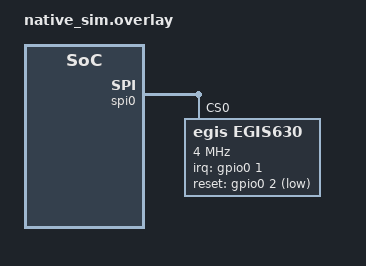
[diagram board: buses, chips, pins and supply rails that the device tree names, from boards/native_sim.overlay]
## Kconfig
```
source "Kconfig.zephyr"
rsource "../../../../../../fingerprint/egis/Kconfig"
```

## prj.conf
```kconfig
# Copyright 2025 The ChromiumOS Authors
# Use of this source code is governed by a BSD-style license that can be
# found in the LICENSE file.

CONFIG_ZTEST=y
CONFIG_EMUL=y
CONFIG_GPIO=y
CONFIG_SPI=y
CONFIG_PM_DEVICE=y
CONFIG_FINGERPRINT_SENSOR=y
CONFIG_FINGERPRINT_SENSOR_EGIS630_PAL=y
CONFIG_APPLICATION_DEFINED_SYSCALL=y
CONFIG_UART_NATIVE_PTY_0_ON_STDINOUT=y

# Breaks some of the tests.
CONFIG_DEVICE_API_ASSERT=n
CONFIG_FP_SENSOR_ALLOW_EXTERNAL_CALI_DATA=y
CONFIG_HAVE_EGIS630_PRIVATE_DRIVER=y
```

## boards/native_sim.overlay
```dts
/* Copyright 2025 The ChromiumOS Authors
 * Use of this source code is governed by a BSD-style license that can be
 * found in the LICENSE file.
 */

#define EGIS630_DEFAULT_IMAGE_PROPS \
	width = <80>; \
	height = <64>; \
	bits-per-pixel = <8>; \
	frame-size = <5120>; \
	image-data-offset-bytes = <0>; \
	v4l2-pixel-format = "V4L2_PIX_FMT_GREY";

#define EGIS630_TEST_IMAGE_PROPS \
	width = <80>; \
	height = <64>; \
	bits-per-pixel = <16>; \
	frame-size = <10240>; \
	image-data-offset-bytes = <0>; \
	v4l2-pixel-format = "V4L2_PIX_FMT_GREY";

/ {
	chosen {
		cros-fp,fingerprint-sensor = &egis630;
	};

	mock_mt_data: partition@10 {
		label = "mock_mt_data";
		reg = <0x10 128>;
	};
};

&spi0 {
	egis630: egis630@0 {
		compatible = "egis,egis630";
		reg = <0>;
		spi-max-frequency = <4000000>;

		configs {
			compatible = "fingerprint-image-frame-params";
			config0 {
				EGIS630_DEFAULT_IMAGE_PROPS
				capture-type = "FINGERPRINT_CAPTURE_TYPE_SIMPLE_IMAGE";
			};
			config1 {
				EGIS630_TEST_IMAGE_PROPS
				capture-type = "FINGERPRINT_CAPTURE_TYPE_PATTERN0";
			};
			config2 {
				EGIS630_TEST_IMAGE_PROPS
				capture-type = "FINGERPRINT_CAPTURE_TYPE_PATTERN1";
			};
			config3 {
				EGIS630_TEST_IMAGE_PROPS
				capture-type = "FINGERPRINT_CAPTURE_TYPE_DEFECT_PXL_TEST";
			};
			config4 {
				EGIS630_TEST_IMAGE_PROPS
				capture-type = "FINGERPRINT_CAPTURE_TYPE_ABNORMAL_TEST";
			};
			config5 {
				EGIS630_TEST_IMAGE_PROPS
				capture-type = "FINGERPRINT_CAPTURE_TYPE_NOISE_TEST";
			};
			config6 {
				EGIS630_TEST_IMAGE_PROPS
				capture-type = "FINGERPRINT_CAPTURE_TYPE_QUALITY_TEST";
			};
		};

		irq-gpios = <&gpio0 1 GPIO_ACTIVE_HIGH>;
		reset-gpios = <&gpio0 2 GPIO_ACTIVE_LOW>;
		calibration-data = <&mock_mt_data>;
	};
};
```

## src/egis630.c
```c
/* Copyright 2025 The ChromiumOS Authors
 * Use of this source code is governed by a BSD-style license that can be
 * found in the LICENSE file.
 */

#include "egis630_pal_test_helpers.h"

#include <zephyr/device.h>
#include <zephyr/devicetree.h>
#include <zephyr/drivers/emul.h>
#include <zephyr/drivers/gpio.h>
#include <zephyr/drivers/gpio/gpio_emul.h>
#include <zephyr/fff.h>
#include <zephyr/sys/byteorder.h>
#include <zephyr/sys/util.h>
#include <zephyr/ztest.h>
#include <zephyr/ztest_assert.h>
#include <zephyr/ztest_error_hook.h>

#include <drivers/fingerprint.h>
#include <emul/emul_egis630.h>
#include <fingerprint/v4l2_types.h>
#include <fingerprint_egis630.h>
#include <fingerprint_egis630_private.h>

DEFINE_FFF_GLOBALS;

extern char printf_buffer[256];
extern LOG_LEVEL g_log_level;
struct egis630_fixture {
	const struct device *dev;
	const struct emul *target;
};

static void *egis630_setup(void)
{
	static struct egis630_fixture fixture = {
		.dev = DEVICE_DT_GET(DT_NODELABEL(egis630)),
		.target = EMUL_DT_GET(DT_NODELABEL(egis630)),
	};

	zassert_not_null(fixture.dev);
	zassert_not_null(fixture.target);
	return &fixture;
}

static void egis630_before(void *data)
{
	memset(printf_buffer, 0, sizeof(printf_buffer));
	g_log_level = LOG_INFO;

	return;
}

/* Maps Egis image capture errors to fingerprint errors. */
int convert_egis_get_image_error_code(egis_api_return_t code);

/* Returns the usable size of a block previously returned by sys_alloc(). */
size_t sys_alloc_usable_size(void *data);

/* Converts capture types from the ec domain to the egis domain. */
egis_capture_mode_t convert_fp_capture_type_to_egis_capture_type(
	enum fingerprint_capture_type capture_type);

/* Converts Egis sensor initialization error to a generic sensor error code. */
uint16_t convert_egis_sensor_init_error_code(egis_api_return_t code);

#define EGIS630_IMAGE_FRAME_PARAM_INITIALIZER(idx, node_id)                 \
	{                                                                   \
		.frame_size = FINGERPRINT_SENSOR_FRAME_SIZE(idx, node_id),  \
		.image_data_offset_bytes =                                  \
			FINGERPRINT_SENSOR_IMAGE_OFFSET(idx, node_id),      \
		.pixel_format =                                             \
			FINGERPRINT_SENSOR_V4L2_PIXEL_FORMAT(idx, node_id), \
		.width = FINGERPRINT_SENSOR_RES_X(idx, node_id),            \
		.height = FINGERPRINT_SENSOR_RES_Y(idx, node_id),           \
		.bpp = FINGERPRINT_SENSOR_RES_BPP(idx, node_id),            \
		.fp_capture_type =                                          \
			FINGERPRINT_SENSOR_CAPTURE_TYPE(idx, node_id),      \
		.reserved = 0,                                              \
	}

static const struct fingerprint_image_frame_params
	expected_image_frame_params_array[] = { LISTIFY(
		NUM_IMAGE_CAPTURE_TYPES, EGIS630_IMAGE_FRAME_PARAM_INITIALIZER,
		(, ), DT_NODELABEL(egis630)) };

ZTEST_SUITE(egis630, NULL, egis630_setup, egis630_before, NULL, NULL);

ZTEST_F(egis630, test_init_success)
{
	zassert_ok(fingerprint_init(fixture->dev));
}

ZTEST_F(egis630, test_deinit_success)
{
	zassert_ok(fingerprint_deinit(fixture->dev));
}

ZTEST_F(egis630, test_convert_egis_get_image_error_code)
{
	zassert_equal(
		convert_egis_get_image_error_code(EGIS_API_IMAGE_QUALITY_GOOD),
		FINGERPRINT_SENSOR_SCAN_GOOD);
	zassert_equal(
		convert_egis_get_image_error_code(EGIS_API_IMAGE_QUALITY_BAD),
		FINGERPRINT_SENSOR_SCAN_LOW_IMAGE_QUALITY);
	zassert_equal(
		convert_egis_get_image_error_code(EGIS_API_IMAGE_QUALITY_WATER),
		FINGERPRINT_SENSOR_SCAN_LOW_IMAGE_QUALITY);
	zassert_equal(convert_egis_get_image_error_code(EGIS_API_IMAGE_EMPTY),
		      FINGERPRINT_SENSOR_SCAN_TOO_FAST);
	zassert_equal(convert_egis_get_image_error_code(
			      EGIS_API_IMAGE_QUALITY_PARTIAL),
		      FINGERPRINT_SENSOR_SCAN_LOW_SENSOR_COVERAGE);
	zassert_equal(convert_egis_get_image_error_code(-3), -3);
}

ZTEST_F(egis630, test_convert_egis_sensor_init_error_code)
{
	zassert_equal(
		convert_egis_sensor_init_error_code(EGIS_API_ERROR_IO_SPI),
		FINGERPRINT_ERROR_SPI_COMM);
	zassert_equal(convert_egis_sensor_init_error_code(
			      EGIS_API_ERROR_DEVICE_NOT_FOUND),
		      FINGERPRINT_ERROR_BAD_HWID);
	zassert_equal(convert_egis_sensor_init_error_code(EGIS_API_OK), 0);
	zassert_equal(convert_egis_sensor_init_error_code(EGIS_API_ERROR),
		      FINGERPRINT_ERROR_INIT_FAIL);
}

ZTEST_F(egis630, test_get_info)
{
	struct fingerprint_sensor_info sensor_info;
	struct fingerprint_image_frame_params
		image_frame_params_array[NUM_IMAGE_CAPTURE_TYPES];
	uint8_t num_params = NUM_IMAGE_CAPTURE_TYPES;

	zassert_ok(fingerprint_init(fixture->dev));
	zassert_ok(fingerprint_get_info(fixture->dev, &sensor_info,
					image_frame_params_array, &num_params));
	zassert_equal(
		num_params, NUM_IMAGE_CAPTURE_TYPES,
		"fingerprint_get_info returned an unexpected number of params");

	zassert_equal(sensor_info.vendor_id, FOURCC('E', 'G', 'I', 'S'));
	zassert_equal(sensor_info.product_id, 9);
	zassert_equal(sensor_info.version, 1);
	zassert_equal(sensor_info.errors,
		      FINGERPRINT_ERROR_DEAD_PIXELS_UNKNOWN);

	for (int i = 0; i < NUM_IMAGE_CAPTURE_TYPES; ++i) {
		zassert_equal(
			memcmp(&image_frame_params_array[i],
			       &expected_image_frame_params_array[i],
			       sizeof(struct fingerprint_image_frame_params)),
			0, "Struct comparison failed at index %d", i);
	}
}

ZTEST_F(egis630, test_enter_idle)
{
	zassert_ok(fingerprint_set_mode(fixture->dev,
					FINGERPRINT_SENSOR_MODE_IDLE));
}

ZTEST_F(egis630, test_invalid_mode_not_supported)
{
	zassert_equal(fingerprint_set_mode(fixture->dev, UINT16_MAX), -ENOTSUP);
}

ZTEST_F(egis630, test_maintenance_not_supported)
{
	uint8_t buffer[CONFIG_FINGERPRINT_SENSOR_IMAGE_SIZE];

	zassert_equal(fingerprint_maintenance(fixture->dev, buffer,
					      sizeof(buffer)),
		      -ENOTSUP);
}

ZTEST_F(egis630, test_maintenance_image_small_buffer_size)
{
	uint8_t buffer[CONFIG_FINGERPRINT_SENSOR_IMAGE_SIZE - 1];

	zassert_equal(fingerprint_maintenance(fixture->dev, buffer,
					      sizeof(buffer)),
		      -EINVAL);
}

ZTEST_F(egis630, test_finger_status_not_supported)
{
	zassert_equal(fingerprint_finger_status(fixture->dev), -ENOTSUP);
}

ZTEST_F(egis630, test_convert_fp_capture_type_to_egis_capture_type)
{
	zassert_equal(convert_fp_capture_type_to_egis_capture_type(
			      FINGERPRINT_CAPTURE_TYPE_VENDOR_FORMAT),
		      EGIS_CAPTURE_IMAGE_COLLECTION);
	zassert_equal(convert_fp_capture_type_to_egis_capture_type(
			      FINGERPRINT_CAPTURE_TYPE_SIMPLE_IMAGE),
		      EGIS_CAPTURE_NORMAL_FORMAT);
	zassert_equal(convert_fp_capture_type_to_egis_capture_type(
			      FINGERPRINT_CAPTURE_TYPE_PATTERN0),
		      EGIS_CAPTURE_BLACK_PXL_TEST);
	zassert_equal(convert_fp_capture_type_to_egis_capture_type(
			      FINGERPRINT_CAPTURE_TYPE_PATTERN1),
		      EGIS_CAPTURE_WHITE_PXL_TEST);
	zassert_equal(convert_fp_capture_type_to_egis_capture_type(
			      FINGERPRINT_CAPTURE_TYPE_QUALITY_TEST),
		      EGIS_CAPTURE_RV_INT_TEST);
	zassert_equal(convert_fp_capture_type_to_egis_capture_type(
			      FINGERPRINT_CAPTURE_TYPE_DEFECT_PXL_TEST),
		      EGIS_CAPTURE_DEFECT_PXL_TEST);
	zassert_equal(convert_fp_capture_type_to_egis_capture_type(
			      FINGERPRINT_CAPTURE_TYPE_ABNORMAL_TEST),
		      EGIS_CAPTURE_ABNORMAL_TEST);
	zassert_equal(convert_fp_capture_type_to_egis_capture_type(
			      FINGERPRINT_CAPTURE_TYPE_NOISE_TEST),
		      EGIS_CAPTURE_NOISE_TEST);
	zassert_equal(convert_fp_capture_type_to_egis_capture_type(
			      FINGERPRINT_CAPTURE_TYPE_RESET_TEST),
		      EGIS_CAPTURE_TYPE_INVALID);
	zassert_equal(convert_fp_capture_type_to_egis_capture_type(
			      FINGERPRINT_CAPTURE_TYPE_MAX),
		      EGIS_CAPTURE_TYPE_INVALID);
}

ZTEST_F(egis630, test_acquire_image_small_buffer_size)
{
	uint8_t buffer[CONFIG_FINGERPRINT_SENSOR_IMAGE_SIZE] = { 0 };
	size_t image_buf_size = CONFIG_FINGERPRINT_SENSOR_IMAGE_SIZE - 1;
	enum fingerprint_capture_type capture_type =
		FINGERPRINT_CAPTURE_TYPE_VENDOR_FORMAT;

	zassert_equal(fingerprint_acquire_image(fixture->dev, capture_type,
						buffer, image_buf_size),
		      -EINVAL);
}

ZTEST_F(egis630, test_acquire_image_not_supported)
{
	uint8_t buffer[CONFIG_FINGERPRINT_SENSOR_IMAGE_SIZE];
	enum fingerprint_capture_type capture_type =
		FINGERPRINT_CAPTURE_TYPE_RESET_TEST;

	zassert_equal(fingerprint_acquire_image(fixture->dev, capture_type,
						buffer, sizeof(buffer)),
		      -EINVAL);
}

ZTEST_F(egis630, test_acquire_image_wrong_capture_type)
{
	uint8_t buffer[CONFIG_FINGERPRINT_SENSOR_IMAGE_SIZE] = { 0 };
	enum fingerprint_capture_type capture_type =
		FINGERPRINT_CAPTURE_TYPE_MAX;

	zassert_equal(fingerprint_acquire_image(fixture->dev, capture_type,
						buffer, sizeof(buffer)),
		      -EINVAL);
}

ZTEST_F(egis630, test_plat_get_time)
{
	uint64_t time_msecs = egis630_plat_get_time();
	uint64_t expected_time_msecs = k_uptime_get();
	zassert_equal(time_msecs, expected_time_msecs);
}

ZTEST_F(egis630, test_plat_wait_time)
{
	uint64_t msecs = 30;
	uint64_t tick_msecs = 1000 / CONFIG_SYS_CLOCK_TICKS_PER_SEC;
	uint64_t t1, t2;

	t1 = k_uptime_get();
	egis630_plat_wait_time(msecs);
	t2 = k_uptime_get();

	zassert_within(t2 - t1, msecs, tick_msecs);
}

ZTEST_F(egis630, test_plat_sleep_time)
{
	uint64_t msecs = 30;
	uint64_t tick_msecs = 1000 / CONFIG_SYS_CLOCK_TICKS_PER_SEC;
	uint64_t t1, t2;

	t1 = k_uptime_get();
	egis630_plat_sleep_time(msecs);
	t2 = k_uptime_get();

	zassert_within(t2 - t1, msecs, tick_msecs);
}

ZTEST_F(egis630, test_plat_get_diff_time)
{
	uint64_t begin_time_msec;
	uint64_t time_delta_msecs;
	uint64_t t1;

	begin_time_msec = k_uptime_get();
	k_msleep(30);
	t1 = k_uptime_get();
	time_delta_msecs = egis630_plat_get_diff_time(begin_time_msec);

	zassert_equal(time_delta_msecs, t1 - begin_time_msec);
}

ZTEST_F(egis630, test_sys_alloc_normal)
{
	size_t size = sizeof(int);
	void *void_ptr = sys_alloc(1, size);
	zassert_not_null(void_ptr, "sys_alloc should return a valid pointer");

	int *int_ptr = (int *)void_ptr;
	int num = 4546;
	*int_ptr = num;
	zassert_equal(*int_ptr, num);

	sys_free(void_ptr);
}

ZTEST_F(egis630, test_sys_alloc_honors_count)
{
	size_t count = 5;
	size_t size = sizeof(uint32_t);

	void *ptr = sys_alloc(count, size);
	zassert_not_null(ptr, "sys_alloc failed to allocate block");

	size_t usable_size = sys_alloc_usable_size(ptr);
	zassert_true(usable_size >= count * size,
		     "Expected usable size at least %zu, got %zu", count * size,
		     usable_size);

	sys_free(ptr);
}

ZTEST_F(egis630, test_sys_alloc_zero_elements)
{
	ztest_set_fault_valid(true);

	sys_alloc(0, 16);

	zassert_unreachable("sys_alloc(0, 16) did not trigger k_oops()");
}

ZTEST_F(egis630, test_sys_alloc_zero_size)
{
	ztest_set_fault_valid(true);

	sys_alloc(8, 0);

	zassert_unreachable("sys_alloc(8, 0) did not trigger k_oops()");
}

ZTEST_F(egis630, test_plat_realloc_shrinking_prevents_over_read)
{
	size_t old_size = 64;
	uint8_t *old_ptr = sys_alloc(1, old_size);
	zassert_not_null(old_ptr);
	memset(old_ptr, 0xA5, old_size);

	size_t new_size = 16;
	uint8_t *new_ptr = plat_realloc(old_ptr, new_size);
	zassert_not_null(new_ptr, "plat_realloc failed to shrink");

	zassert_true(sys_alloc_usable_size(new_ptr) >= new_size,
		     "Usable size is smaller than requested shrink size");
	for (size_t i = 0; i < new_size; i++) {
		zassert_equal(new_ptr[i], 0xA5,
			      "Corrupt data after shrink at byte %zu", i);
	}

	sys_free(new_ptr);
}

ZTEST_F(egis630, test_plat_realloc_growing_bounds_copy)
{
	size_t old_size = 8;
	uint8_t *old_ptr = sys_alloc(1, old_size);
	zassert_not_null(old_ptr);
	memset(old_ptr, 0x5A, old_size);

	size_t new_size = 32;
	uint8_t *new_ptr = plat_realloc(old_ptr, new_size);
	zassert_not_null(new_ptr, "plat_realloc failed to grow");

	zassert_true(sys_alloc_usable_size(new_ptr) >= new_size,
		     "Usable size is smaller than requested grow size");
	for (size_t i = 0; i < old_size; i++) {
		zassert_equal(new_ptr[i], 0x5A, "Corrupt data at byte %zu", i);
	}

	sys_free(new_ptr);
}

ZTEST_F(egis630, test_plat_realloc_zero_size)
{
	/* Allocate valid starting arena */
	void *ptr = sys_alloc(1, 128);
	zassert_not_null(ptr, "Initial allocation of 128 bytes failed");

	/* Resize target size down to 0. */
	void *realloc_ptr = plat_realloc(ptr, 0);

	/* Realloc to 0 frees memory and returns NULL. */
	zassert_is_null(realloc_ptr,
			"realloc to 0 size should free memory and return NULL");

	/*
	 * Ensure NULL realloc with zero target size is cleanly handled and also
	 * returns NULL.
	 */
	void *null_realloc = plat_realloc(NULL, 0);
	zassert_is_null(null_realloc, "realloc(NULL, 0) should return NULL");
}

ZTEST_F(egis630, test_sys_alloc_usable_size_handles_null)
{
	zassert_equal(sys_alloc_usable_size(NULL), 0,
		      "sys_alloc_usable_size should return 0 on NULL input");
}

ZTEST_F(egis630, test_plat_calloc_initializes_normal)
{
	size_t count = 10;
	size_t size = sizeof(uint16_t);

	uint16_t *ptr = plat_calloc(count, size);
	zassert_not_null(ptr, "plat_calloc returned NULL");

	size_t usable_size = sys_alloc_usable_size(ptr);
	zassert_true(usable_size >= count * size,
		     "Mismatch in calloc usable size");

	for (size_t i = 0; i < count; i++) {
		zassert_equal(
			ptr[i], 0,
			"plat_calloc failed to zero-initialize at index %zu",
			i);
	}
	sys_free(ptr);
}

ZTEST_F(egis630, test_plat_calloc_overflow_panics)
{
	ztest_set_fault_valid(true);

	plat_calloc(SIZE_MAX / 2, 4);

	zassert_unreachable("plat_calloc overflow did not trigger k_oops()");
}

ZTEST_F(egis630, test_sys_alloc_huge_size_panics)
{
	ztest_set_fault_valid(true);

	size_t malicious_size = SIZE_MAX - 2;
	sys_alloc(1, malicious_size);

	zassert_unreachable("sys_alloc huge size OOM did not trigger k_oops()");
}

ZTEST_F(egis630, test_sys_alloc_multiplication_overflow_panics)
{
	ztest_set_fault_valid(true);

	sys_alloc(SIZE_MAX / 2 + 1, 2);

	zassert_unreachable(
		"sys_alloc multiplication overflow did not trigger k_oops()");
}

ZTEST_F(egis630, test_sys_alloc_oom_panics)
{
	ztest_set_fault_valid(true);

	sys_alloc(1, CONFIG_FINGERPRINT_SENSOR_EGIS630_HEAP_SIZE + 256);

	zassert_unreachable("sys_alloc OOM did not trigger k_oops()");
}

ZTEST_F(egis630, test_sys_free_handles_null)
{
	sys_free(NULL);
	zassert_true(true, "sys_free successfully handled NULL");
}

ZTEST_F(egis630, test_plat_realloc_null_data)
{
	size_t size = 32;
	void *ptr = plat_realloc(NULL, size);

	zassert_not_null(ptr,
			 "plat_realloc(NULL, size) should allocate new memory");
	zassert_true(sys_alloc_usable_size(ptr) >= size,
		     "Allocated size mismatch");

	sys_free(ptr);
}

ZTEST_F(egis630, test_periphery_spi_write_read_success)
{
	uint8_t tx_buf[1] = { 0xFD };
	uint8_t rx_buf[3] = { 0 };
	uint8_t expected_rx_buf[3] = { 0x1, 0x1E, 0x6 };

	zassert_ok(fingerprint_init(fixture->dev));
	zassert_ok(egis630_periphery_spi_write_read(tx_buf, sizeof(tx_buf),
						    rx_buf, sizeof(rx_buf)));
	zassert_mem_equal(rx_buf, expected_rx_buf, sizeof(expected_rx_buf),
			  "Received data does not match sent data");
}

ZTEST_F(egis630, test_periphery_spi_write_read_spi_stopped)
{
	uint8_t tx_buf[1] = { 0xFD };
	uint8_t rx_buf[3] = { 0 };

	zassert_ok(fingerprint_init(fixture->dev));
	egis630_stop_spi(fixture->target);
	zassert_equal(egis630_periphery_spi_write_read(tx_buf, sizeof(tx_buf),
						       rx_buf, sizeof(rx_buf)),
		      -EIO);
}

ZTEST_F(egis630, test_output_log_success_info)
{
	char expected_printf_buffer[sizeof(printf_buffer)];

	memset(expected_printf_buffer, 0, sizeof(expected_printf_buffer));
	snprintf(expected_printf_buffer, sizeof(expected_printf_buffer),
		 "<func:10> info 5.43");

	output_log(LOG_INFO, "tag", "file", "func", 10, "info %.2f", 5.43);

	zassert_mem_equal(printf_buffer, expected_printf_buffer,
			  sizeof(printf_buffer),
			  "LOG message not match expected message");
}

ZTEST_F(egis630, test_output_log_success_warn)
{
	char expected_printf_buffer[sizeof(printf_buffer)];

	memset(expected_printf_buffer, 0, sizeof(expected_printf_buffer));
	snprintf(expected_printf_buffer, sizeof(expected_printf_buffer),
		 "<func:10> warn 7.6");

	output_log(LOG_WARN, "tag", "file", "func", 10, "warn %.1f", 7.6);
	zassert_mem_equal(printf_buffer, expected_printf_buffer,
			  sizeof(printf_buffer),
			  "LOG message not match expected message");
}

ZTEST_F(egis630, test_output_log_success_error)
{
	char expected_printf_buffer[sizeof(printf_buffer)];

	memset(expected_printf_buffer, 0, sizeof(expected_printf_buffer));
	snprintf(expected_printf_buffer, sizeof(expected_printf_buffer),
		 "<func:10> error 2.1");

	output_log(LOG_ERROR, "tag", "file", "func", 10, "error %.1f", 2.1);
	zassert_mem_equal(printf_buffer, expected_printf_buffer,
			  sizeof(printf_buffer),
			  "LOG message not match expected message");
}

ZTEST_F(egis630, test_output_log_success_assert)
{
	char expected_printf_buffer[sizeof(printf_buffer)];

	memset(expected_printf_buffer, 0, sizeof(expected_printf_buffer));
	snprintf(expected_printf_buffer, sizeof(expected_printf_buffer),
		 "<func:10> assert 3.1");

	output_log(LOG_WARN, "tag", "file", "func", 10, "assert %.1f", 3.1);
	zassert_mem_equal(printf_buffer, expected_printf_buffer,
			  sizeof(printf_buffer),
			  "LOG message not match expected message");
}

ZTEST_F(egis630, test_output_log_format_NULL)
{
	output_log(LOG_INFO, "tag", "file", "func", 10, NULL);
	zassert_equal(printf_buffer[0], '\0');
}

ZTEST_F(egis630, test_output_log_format_no_logging_info_greater_than_verbose)
{
	output_log(LOG_VERBOSE, "tag", "file", "func", 10, "info %.1f", 3.1);
	zassert_equal(printf_buffer[0], '\0');
}

ZTEST_F(egis630, test_output_log_format_no_logging_info_greater_than_debug)
{
	output_log(LOG_DEBUG, "tag", "file", "func", 10, "info %.1f", 2.1f);
	zassert_equal(printf_buffer[0], '\0');
}

ZTEST_F(egis630, test_output_log_invalid_level)
{
	char expected_printf_buffer[sizeof(printf_buffer)];

	memset(expected_printf_buffer, 0, sizeof(expected_printf_buffer));
	snprintf(expected_printf_buffer, sizeof(expected_printf_buffer),
		 "<func:10> invalid level 123");

	/* 9 is above the maximum valid level (LOG_ASSERT = 7). */
	output_log((LOG_LEVEL)9, "tag", "file", "func", 10, "invalid level %d",
		   123);

	zassert_mem_equal(printf_buffer, expected_printf_buffer,
			  sizeof(printf_buffer),
			  "LOG message did not match expected message");
}

ZTEST_F(egis630, test_output_log_filtered_below_min)
{
	/* 0 is below the minimum valid level (LOG_VERBOSE = 2). */
	output_log((LOG_LEVEL)0, "tag", "file", "func", 10,
		   "should be filtered");

	zassert_equal(
		printf_buffer[0], '\0',
		"Buffer should remain completely empty when filtered early");
}

ZTEST_F(egis630, test_set_debug_level_success_verbose)
{
	egis630_set_debug_level(LOG_VERBOSE);
	zassert_equal(g_log_level, LOG_VERBOSE);

	char expected_printf_buffer[sizeof(printf_buffer)];

	memset(expected_printf_buffer, 0, sizeof(expected_printf_buffer));
	snprintf(expected_printf_buffer, sizeof(expected_printf_buffer),
		 "<:0> set_debug_level 2");
	zassert_mem_equal(printf_buffer, expected_printf_buffer,
			  sizeof(printf_buffer),
			  "LOG message not match expected message");
}

ZTEST_F(egis630, test_set_debug_level_success_debug)
{
	egis630_set_debug_level(LOG_DEBUG);
	zassert_equal(g_log_level, LOG_DEBUG);

	char expected_printf_buffer[sizeof(printf_buffer)];

	memset(expected_printf_buffer, 0, sizeof(expected_printf_buffer));
	snprintf(expected_printf_buffer, sizeof(expected_printf_buffer),
		 "<:0> set_debug_level 3");
	zassert_mem_equal(printf_buffer, expected_printf_buffer,
			  sizeof(printf_buffer),
			  "LOG message not match expected message");
}

ZTEST_F(egis630, test_set_debug_level_success_info)
{
	egis630_set_debug_level(LOG_INFO);
	zassert_equal(g_log_level, LOG_INFO);

	char expected_printf_buffer[sizeof(printf_buffer)];

	memset(expected_printf_buffer, 0, sizeof(expected_printf_buffer));
	snprintf(expected_printf_buffer, sizeof(expected_printf_buffer),
		 "<:0> set_debug_level 4");
	zassert_mem_equal(printf_buffer, expected_printf_buffer,
			  sizeof(printf_buffer),
			  "LOG message not match expected message");
}

ZTEST_F(egis630, test_set_debug_level_success_warn)
{
	egis630_set_debug_level(LOG_WARN);
	zassert_equal(g_log_level, LOG_WARN);

	char expected_printf_buffer[sizeof(printf_buffer)];

	memset(expected_printf_buffer, 0, sizeof(expected_printf_buffer));
	snprintf(expected_printf_buffer, sizeof(expected_printf_buffer),
		 "<:0> set_debug_level 5");
	zassert_mem_equal(printf_buffer, expected_printf_buffer,
			  sizeof(printf_buffer),
			  "LOG message not match expected message");
}

ZTEST_F(egis630, test_set_debug_level_success_error)
{
	egis630_set_debug_level(LOG_ERROR);
	zassert_equal(g_log_level, LOG_ERROR);

	char expected_printf_buffer[sizeof(printf_buffer)];

	memset(expected_printf_buffer, 0, sizeof(expected_printf_buffer));
	snprintf(expected_printf_buffer, sizeof(expected_printf_buffer),
		 "<:0> set_debug_level 6");
	zassert_mem_equal(printf_buffer, expected_printf_buffer,
			  sizeof(printf_buffer),
			  "LOG message not match expected message");
}

ZTEST_F(egis630, test_set_debug_level_success_assert)
{
	egis630_set_debug_level(LOG_ASSERT);
	zassert_equal(g_log_level, LOG_ASSERT);

	zassert_equal(printf_buffer[0], '\0');
}

ZTEST_F(egis630, test_plat_free_success)
{
	int num = 1234;
	int *ptr = (int *)sys_alloc(1, sizeof(int));
	*ptr = num;

	zassert_not_null(ptr);
	zassert_equal(*ptr, num);

	plat_free((void **)&ptr);
	zassert_is_null(ptr);
}

ZTEST_F(egis630, test_plat_free_null)
{
	int *ptr = NULL;
	plat_free((void **)&ptr);
	zassert_is_null(ptr);
}

ZTEST_F(egis630, test_plat_free_null_double_pointer)
{
	plat_free(NULL);
	TC_PRINT("plat_free safely handled NULL double pointer.\n");
}

ZTEST_F(egis630, test_egis630_rbs_check_if_null_error)
{
	int error_code = 123;
	char expected_printf_buffer[sizeof(printf_buffer)];

	memset(expected_printf_buffer, 0, sizeof(expected_printf_buffer));
	snprintf(expected_printf_buffer, sizeof(expected_printf_buffer),
		 "<z_impl_egis630_rbs_check_if_null:53> "
		 "z_impl_egis630_rbs_check_if_null, ptr is NULL");

	int result = egis630_rbs_check_if_null(NULL, error_code);

	zassert_equal(result, error_code);
	zassert_mem_equal(printf_buffer, expected_printf_buffer,
			  sizeof(printf_buffer),
			  "LOG message not match expected message");
}

ZTEST_F(egis630, test_egis630_rbs_check_if_null_no_error)
{
	int error_code = 123;
	int buffer[8] = { 0 };

	int result = egis630_rbs_check_if_null(buffer, error_code);

	zassert_equal(result, 0);
	zassert_equal(printf_buffer[0], '\0');
}

ZTEST_F(egis630, test_egislog_e)
{
	egislog_e("The output is %d and %.1f", 6, 2.3);
	char expected_printf_buffer[sizeof(printf_buffer)];
	memset(expected_printf_buffer, 0, sizeof(expected_printf_buffer));
	snprintf(expected_printf_buffer, sizeof(expected_printf_buffer),
		 "<egis630_test_egislog_e:%d> The output is 6 and 2.3",
		 __LINE__ - 5);
	zassert_mem_equal(printf_buffer, expected_printf_buffer,
			  sizeof(printf_buffer),
			  "LOG message not match expected message");
}

ZTEST_F(egis630, test_egislog_d)
{
	egislog_d("The output is %d and %.1f", 6, 2.3);
	zassert_equal(printf_buffer[0], '\0');
}

ZTEST_F(egis630, test_egislog_i)
{
	egislog_i("The output is %d and %.1f", 6, 2.3);
	char expected_printf_buffer[sizeof(printf_buffer)];
	memset(expected_printf_buffer, 0, sizeof(expected_printf_buffer));
	snprintf(expected_printf_buffer, sizeof(expected_printf_buffer),
		 "<egis630_test_egislog_i:%d> The output is 6 and 2.3",
		 __LINE__ - 5);
	zassert_mem_equal(printf_buffer, expected_printf_buffer,
			  sizeof(printf_buffer),
			  "LOG message not match expected message");
}

ZTEST_F(egis630, test_egislog_v)
{
	egislog_v("The output is %d and %.1f", 6, 2.3);
	zassert_equal(printf_buffer[0], '\0');
}
```

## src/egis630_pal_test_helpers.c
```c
/* Copyright 2025 The ChromiumOS Authors
 * Use of this source code is governed by a BSD-style license that can be
 * found in the LICENSE file.
 */

#include "egis630_pal_test_helpers.h"

uint64_t z_impl_egis630_plat_get_time(void)
{
	return plat_get_time();
}

void z_impl_egis630_plat_wait_time(uint32_t msec)
{
	return plat_wait_time(msec);
}

void z_impl_egis630_plat_sleep_time(uint32_t timeInMs)
{
	return plat_sleep_time(timeInMs);
}

uint32_t z_impl_egis630_plat_get_diff_time(uint64_t begin)
{
	return plat_get_diff_time(begin);
}

void *z_impl_egis630_plat_alloc(size_t size)
{
	return plat_alloc(size);
}

int z_impl_egis630_periphery_spi_write_read(uint8_t *write, uint32_t size,
					    uint8_t *read, uint32_t rx_len)
{
	return periphery_spi_write_read(write, size, read, rx_len);
}

void z_impl_egis630_output_log(LOG_LEVEL level, const char *tag,
			       const char *file_path, const char *func,
			       int line, const char *format)
{
	return output_log(level, tag, file_path, func, line, format);
}

void z_impl_egis630_set_debug_level(LOG_LEVEL level)
{
	return set_debug_level(level);
}

int z_impl_egis630_rbs_check_if_null(void *ptr, int error_code)
{
	RBS_CHECK_IF_NULL(ptr, error_code);
	return 0; // Return 0 if ptr is not NULL
}
```

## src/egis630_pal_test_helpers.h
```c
/* Copyright 2025 The ChromiumOS Authors
 * Use of this source code is governed by a BSD-style license that can be
 * found in the LICENSE file.
 */

#ifndef ZEPHYR_TEST_FINGERPRINT_DRIVERS_EGIS630_SRC_EGIS630_PAL_TEST_HELPERS_H_
#define ZEPHYR_TEST_FINGERPRINT_DRIVERS_EGIS630_SRC_EGIS630_PAL_TEST_HELPERS_H_

#include <zephyr/kernel.h>

#include <fingerprint_egis630_pal.h>

__syscall uint64_t egis630_plat_get_time(void);
__syscall void egis630_plat_wait_time(uint32_t mecs);
__syscall void egis630_plat_sleep_time(uint32_t timeInMs);
__syscall uint32_t egis630_plat_get_diff_time(uint64_t begin);
__syscall void *egis630_sys_alloc(size_t count, size_t size);
__syscall int egis630_periphery_spi_write_read(uint8_t *write, uint32_t size,
					       uint8_t *read, uint32_t rx_len);
__syscall void egis630_set_debug_level(LOG_LEVEL level);
__syscall int egis630_rbs_check_if_null(void *ptr, int error_code);

#include <zephyr/syscalls/egis630_pal_test_helpers.h>

#endif // ZEPHYR_TEST_FINGERPRINT_DRIVERS_EGIS630_SRC_EGIS630_PAL_TEST_HELPERS_H_
```
